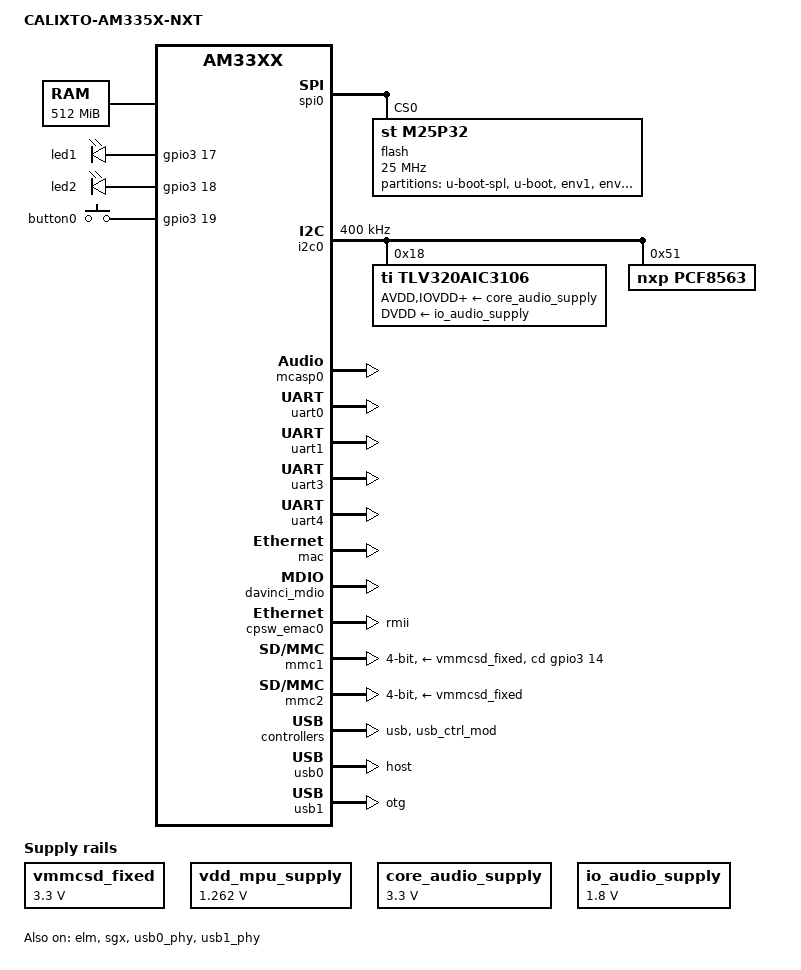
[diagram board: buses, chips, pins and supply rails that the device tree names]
/*
 * Copyright (C) 2014 Calixto Systems Pvt Ltd - http://www.calixto.co.in/
 *
 * This program is free software; you can redistribute it and/or modify
 * it under the terms of the GNU General Public License version 2 as
 * published by the Free Software Foundation.
 */

/*
 * AM335x CALIXTO STAMP EVM
 * http:// http://www.calixto.co.in/
 * Modified from am335x-evmsk
 * Modified by Jithin Shyam <jithin.s@calixto.in>
 */

/dts-v1/;

#include "am33xx.dtsi"
#include <dt-bindings/pwm/pwm.h>
#include <dt-bindings/interrupt-controller/irq.h>

/ {
	model = "CALIXTO-AM335X-NXT";
	compatible = "ti,am335x-calixto-nxt", "ti,am33xx";

	cpus {
		cpu@0 {
			 cpu0-supply = <&vdd_mpu_supply>;
		};
	};

	memory {
		device_type = "memory";
		reg = <0x80000000 0x20000000>; /* 512MB */
	};

	vmmcsd_fixed: fixedregulator-sd {
		compatible = "regulator-fixed";
		regulator-name = "vmmcsd_fixed";
		regulator-min-microvolt = <3300000>;
		regulator-max-microvolt = <3300000>;
		enable-active-high;
	};

	vdd_mpu_supply: fixedregulator-mpu {
		compatible = "regulator-fixed";
		regulator-name = "vdd_mpu_supply";
		regulator-min-microvolt = <1262000>;
		regulator-max-microvolt = <1262000>;
		regulator-boot-on;
	};

	core_audio_supply: fixedregulator@1 {
                compatible = "regulator-fixed";
                regulator-name = "core_audio_supply";
                regulator-min-microvolt = <3300000>;
                regulator-max-microvolt = <3300000>;
                regulator-boot-on;
        };

        io_audio_supply: fixedregulator@2 {
                compatible = "regulator-fixed";
                regulator-name = "io_audio_supply";
                regulator-min-microvolt = <1800000>;
                regulator-max-microvolt = <1800000>;
                regulator-boot-on;
        };

	sound {
            compatible = "ti,da830-evm-audio";
            ti,model = "CALIXTO-AM335X-NXT";
            ti,audio-codec = <&tlv320aic3106>;
            ti,mcasp-controller = <&mcasp0>;
            ti,codec-clock-rate = <24576000>;
            ti,audio-routing =
                    "Headphone Jack",       "HPLOUT",
                    "Headphone Jack",       "HPROUT",
                    "Line Out",             "LLOUT",
                    "Line Out",             "RLOUT",
                    "LINE1L",               "Line In",
                    "LINE1R",               "Line In",
                    "MIC3L",                "Mic Jack",
                    "MIC3R",                "Mic Jack";
        };
	
	leds {
                pinctrl-names = "default", "sleep";
                pinctrl-0 = <&user_leds_default>;
                pinctrl-1 = <&user_leds_sleep>;

                compatible = "gpio-leds";

                led@1 {
                        label = "led1";
                        gpios = <&gpio3 17 GPIO_ACTIVE_HIGH>;
                        linux,default-trigger = "heartbeat";
                        default-state = "on";
                };

                led@2 {
                        label = "led2";
                        gpios = <&gpio3 18 GPIO_ACTIVE_HIGH>;
                        linux,default-trigger = "heartbeat";
                        default-state = "on";
                };
        };

	gpio_buttons: gpio_buttons@0 {
                compatible = "gpio-keys";
                pinctrl-names = "default";
                pinctrl-0 = <&gpio_keys_s0>;
                #address-cells = <1>;
                #size-cells = <0>;

                switch@1 {
                        label = "button0";
                        linux,code = <0x100>;
                        gpios = <&gpio3 19 GPIO_ACTIVE_HIGH>;
                };

        };
};


&am33xx_pinmux {

	pinctrl-names = "default";
	pinctrl-0 = <&clkout2_pin>;

	user_leds_default: user_leds_default {
                pinctrl-single,pins = <
                        0x19C ( PIN_OUTPUT_PULLDOWN | MUX_MODE7 ) /* (C12) mcasp0_ahclkr.gpio3[17] */
                        0x1A0 ( PIN_OUTPUT_PULLDOWN | MUX_MODE7 ) /* (A14) mcasp0_ahclkx.gpio3[21] */
                >;
        };

        user_leds_sleep: user_leds_sleep {
                pinctrl-single,pins = <
                        0x19C ( PIN_INPUT_PULLDOWN | MUX_MODE7 ) /* (C12) mcasp0_ahclkr.gpio3[17] */
                        0x1A0 ( PIN_INPUT_PULLDOWN | MUX_MODE7 ) /* (A14) mcasp0_ahclkx.gpio3[21] */
                >;
        };


        gpio_keys_s0: gpio_keys_s0 {
                pinctrl-single,pins = <
                        0x1A4 ( PIN_INPUT_PULLDOWN | MUX_MODE7 ) /* (C13) mcasp0_fsr.gpio3[19] */
                >;
        };

	i2c0_pins: pinmux_i2c0_pins {
                pinctrl-single,pins = <
                        0x188 (PIN_INPUT_PULLUP | MUX_MODE0)    /* i2c0_sda.i2c0_sda */
                        0x18C (PIN_INPUT_PULLUP | MUX_MODE0)    /* i2c0_scl.i2c0_scl */
                >;
        };


	spi0_pins: pinmux_spi0_pins {
		pinctrl-single,pins = <
			0x150 ( PIN_INPUT_PULLUP | MUX_MODE0 ) /* (A17) spi0_sclk.spi0_sclk */
			0x154 ( PIN_INPUT_PULLUP | MUX_MODE0 ) /* (B17) spi0_d0.spi0_d0 */
			0x158 ( PIN_OUTPUT_PULLUP | MUX_MODE0 ) /* (B16) spi0_d1.spi0_d1 */
			0x15c ( PIN_OUTPUT_PULLUP | MUX_MODE0 ) /* (A16) spi0_cs0.spi0_cs0 */
		>;
	};


 	uart0_pins: pinmux_uart0_pins {
                pinctrl-single,pins = <
                        0x170 (PIN_INPUT_PULLUP    | MUX_MODE0)  /* uart0_rxd.uart0_rxd */
                        0x174 (PIN_OUTPUT_PULLDOWN | MUX_MODE0)  /* uart0_txd.uart0_txd */
                >;
        };

	uart1_pins: pinmux_uart1_pins {
                pinctrl-single,pins = <
                        0x180 (PIN_INPUT_PULLUP    | MUX_MODE0)  /* (D16) uart1_rxd.uart1_rxd */
                        0x184 (PIN_OUTPUT_PULLDOWN | MUX_MODE0)  /* (D15) uart1_txd.uart1_txd */
                >;
        };

        uart3_pins: pinmux_uart3_pins {
                pinctrl-single,pins = <
                        0x160 (PIN_INPUT_PULLUP    | MUX_MODE1)  /* (C15) spi0_cs1.uart3_rxd */
                        0x138 (PIN_OUTPUT_PULLDOWN | MUX_MODE1)  /* (L16) gmii1_rxd2.uart3_txd */
                >;
        };

        uart4_pins: pinmux_uart4_pins {
                pinctrl-single,pins = <
                        0x11C (PIN_INPUT_PULLUP    | MUX_MODE3)  /* (J18) gmii1_txd3.uart4_rxd */
                        0x120 (PIN_OUTPUT_PULLDOWN | MUX_MODE3)  /* (K15) gmii1_txd2.uart4_txd */
                >;
        };


	cpsw_default: cpsw_default {
		pinctrl-single,pins = <
			/* Slave 1 */
			0x10c (PIN_INPUT_PULLDOWN  | MUX_MODE1)  /* mii1_crs.rmii1_crs_dv */
			0x110 (PIN_INPUT_PULLDOWN  | MUX_MODE1)  /* mii1_rxerr.mii1_rxerr */
			0x114 (PIN_OUTPUT_PULLDOWN | MUX_MODE1)  /* mii1_txen.mii1_txen   */
			0x124 (PIN_OUTPUT_PULLDOWN | MUX_MODE1)  /* mii1_txd1.mii1_txd1   */
			0x128 (PIN_OUTPUT_PULLDOWN | MUX_MODE1)  /* mii1_txd0.mii1_txd0   */
			0x13c (PIN_INPUT_PULLDOWN  | MUX_MODE1)  /* mii1_rxd1.mii1_rxd2   */
			0x140 (PIN_INPUT_PULLDOWN  | MUX_MODE1)  /* mii1_rxd0.mii1_rxd0   */
			0x144 (PIN_INPUT_PULLDOWN  | MUX_MODE0)  /* rmii1_refclk.rmii1_refclk */
		>;
	};

	cpsw_sleep: cpsw_sleep {
		pinctrl-single,pins = <
			/* Slave 1 reset value */
			0x10c (PIN_INPUT_PULLDOWN | MUX_MODE7)
			0x110 (PIN_INPUT_PULLDOWN | MUX_MODE7)
			0x114 (PIN_INPUT_PULLDOWN | MUX_MODE7)
			0x124 (PIN_INPUT_PULLDOWN | MUX_MODE7)
			0x128 (PIN_INPUT_PULLDOWN | MUX_MODE7)
			0x13c (PIN_INPUT_PULLDOWN | MUX_MODE7)
			0x140 (PIN_INPUT_PULLDOWN | MUX_MODE7)
			0x144 (PIN_INPUT_PULLDOWN | MUX_MODE7)
		>;
	};

       clkout2_pin: pinmux_clkout2_pin {
                pinctrl-single,pins = <
                        0x1B4 (PIN_OUTPUT_PULLDOWN | MUX_MODE3) /* xdma_event_intr1.clkout2 */
                >;
        };

	davinci_mdio_default: davinci_mdio_default {
		pinctrl-single,pins = <
			/* MDIO */
			0x148 (PIN_INPUT_PULLUP  | SLEWCTRL_FAST | MUX_MODE0)	/* mdio_data.mdio_data */
			0x14c (PIN_OUTPUT_PULLUP | MUX_MODE0)			/* mdio_clk.mdio_clk */
		>;
	};

	davinci_mdio_sleep: davinci_mdio_sleep {
		pinctrl-single,pins = <
			/* MDIO reset value */
			0x148 (PIN_INPUT_PULLDOWN | MUX_MODE7)
			0x14c (PIN_INPUT_PULLDOWN | MUX_MODE7)
		>;
	};

	mmc1_pins_default: pinmux_mmc1_pins {
		pinctrl-single,pins = <
			0x0F0 (PIN_INPUT_PULLUP | MUX_MODE0)    /* mmc0_dat3.mmc0_dat3 */
			0x0F4 (PIN_INPUT_PULLUP | MUX_MODE0)    /* mmc0_dat2.mmc0_dat2 */
			0x0F8 (PIN_INPUT_PULLUP | MUX_MODE0)    /* mmc0_dat1.mmc0_dat1 */
			0x0FC (PIN_INPUT_PULLUP | MUX_MODE0)    /* mmc0_dat0.mmc0_dat0 */
			0x100 (PIN_INPUT_PULLUP | MUX_MODE0)    /* mmc0_clk.mmc0_clk */
			0x104 (PIN_INPUT_PULLUP | MUX_MODE0)    /* mmc0_cmd.mmc0_cmd */
		/*	0x190 (PIN_INPUT | MUX_MODE7) 	*/	/* mcasp0_aclkx.gpio3_14 */
		>;
	};

	mmc1_pins_sleep: pinmux_mmc1_pins_sleep {
		pinctrl-single,pins = <
			0x0F0 (PIN_INPUT_PULLDOWN | MUX_MODE7)
			0x0F4 (PIN_INPUT_PULLDOWN | MUX_MODE7)
			0x0F8 (PIN_INPUT_PULLDOWN | MUX_MODE7)
			0x0FC (PIN_INPUT_PULLDOWN | MUX_MODE7)
			0x100 (PIN_INPUT_PULLDOWN | MUX_MODE7)
			0x104 (PIN_INPUT_PULLDOWN | MUX_MODE7)
			0x190 (PIN_INPUT_PULLDOWN | MUX_MODE7)
		>;
	};

	emmc_pins: pinmux_emmc_pins {
		pinctrl-single,pins = <
		0x80 ( PIN_INPUT_PULLUP | MUX_MODE2 ) /* (U9) gpmc_csn1.mmc1_clk */
		0x84 ( PIN_INPUT_PULLUP | MUX_MODE2 ) /* (V9) gpmc_csn2.mmc1_cmd */
		0x00 ( PIN_INPUT_PULLUP | MUX_MODE1 ) /* (U7) gpmc_ad0.mmc1_dat0 */
		0x04 ( PIN_INPUT_PULLUP | MUX_MODE1 ) /* (V7) gpmc_ad1.mmc1_dat1 */
		0x08 ( PIN_INPUT_PULLUP | MUX_MODE1 ) /* (R8) gpmc_ad2.mmc1_dat2 */
		0x0c ( PIN_INPUT_PULLUP | MUX_MODE1 ) /* (T8) gpmc_ad3.mmc1_dat3 */
		>;
	};	

	mcasp0_pins: mcasp0_pins {
		pinctrl-single,pins = <
			0x12C (PIN_INPUT_PULLDOWN  | MUX_MODE6) /* mii1_txclk.mcasp0_aclkx */
			0x194 (PIN_INPUT_PULLDOWN  | MUX_MODE0) /* mcasp0_fsx.mcasp0_fsx   */
			0x134 (PIN_OUTPUT_PULLDOWN | MUX_MODE6) /* mii1_rxd3.mcasp0_axr0   */
			0x1A8 (PIN_INPUT_PULLDOWN  | MUX_MODE0) /* mcasp0_axr1.mcasp0_axr1 */
		>;
	};

	mcasp0_sleep_pins: mcasp0_sleep_pins {
		pinctrl-single,pins = <
			0x12C (PIN_INPUT_PULLDOWN | MUX_MODE7)
			0x194 (PIN_INPUT_PULLDOWN | MUX_MODE7)
			0x134 (PIN_INPUT_PULLDOWN | MUX_MODE7)
			0x1A8 (PIN_INPUT_PULLDOWN | MUX_MODE7)
		>;
	};



};

&elm {
	status = "okay";
};

/*
 * SPI Flash (8MiB)
 * 0x000000 - 0x01FFFF : SPL (128KiB)
 * 0x020000 - 0x09FFFF : U-Boot (512KiB)
 * 0x0A0000 - 0x0BFFFF : First copy of U-Boot Environment (128KiB)
 * 0x0C0000 - 0x0DFFFF : Second copy of U-Boot Environment (128KiB)
 * 0x0E0000 - 0x0FFFFF : device tree blob (Not used now) (128KiB)
 * 0x100000 - 0x800000 : Application data (7MiB)
 */

&spi0 {
	pinctrl-names = "default";
	pinctrl-0 = <&spi0_pins>;
	status = "okay";

	flash: n25q032@0 {
		 #address-cells = <1>;
		 #size-cells = <1>;
		 compatible = "st,m25p32";
		 spi-max-frequency = <25000000>;
		 reg = <0>;


		 partition@0 {
			 label = "u-boot-spl";
			 reg = <0x000000 0x020000>;
		 };


		 partition@1 {
			 label = "u-boot";
			 reg = <0x020000 0x080000>;
		 };

		 partition@2 {
			 label = "env1";
			 reg = <0x0A0000 0x020000>;
		 };

		 partition@3 {
			 label = "env2";
			 reg = <0x0C0000 0x020000>;
		 };
/*
		 partition@4 {
			 label = "device-tree-blob";
			 reg = <0x0E0000 0x020000>;
		 };
*/
		 partition@5 {
			 label = "app-data";
			 reg = <0x100000 0x700000>;
		 };

	};
};


&i2c0 {
	pinctrl-names = "default";
	pinctrl-0 = <&i2c0_pins>;
	status = "okay";
	clock-frequency = <400000>;

        tlv320aic3106: tlv320aic3106@18 {
             	compatible = "ti,tlv320aic3106";
             	reg = <0x18>;
             	ai3x-micbias-vg = <1>;
             	status = "okay";

             	/* Regulators */
             	AVDD-supply  = <&core_audio_supply>;
            	IOVDD-supply = <&core_audio_supply>;
             	DRVDD-supply = <&core_audio_supply>;
             	DVDD-supply  = <&io_audio_supply>;
	  };

	pcf8563: pcf8563@51 {
		compatible = "nxp,pcf8563";
		reg = <0x51>;
	};

};

&mcasp0 {
          pinctrl-names = "default", "sleep";
          pinctrl-0 = <&mcasp0_pins>;
          pinctrl-1 = <&mcasp0_sleep_pins>;

          status = "okay";

          op-mode = <0>;          /* MCASP_IIS_MODE */
          tdm-slots = <2>;
          /* 16 serializer */
          serial-dir = <  /* 0: INACTIVE, 1: TX, 2: RX */
                 1 2 0 0
          >;
          tx-num-evt = <32>;
          rx-num-evt = <32>;
};


&uart0 {
        pinctrl-names = "default";
        pinctrl-0 = <&uart0_pins>;

        status = "okay";
};

&uart1 {
        pinctrl-names = "default";
        pinctrl-0 = <&uart1_pins>;

        status = "okay";
};

&uart3 {
        pinctrl-names = "default";
        pinctrl-0 = <&uart3_pins>;

        status = "okay";
};

&uart4 {
        pinctrl-names = "default";
        pinctrl-0 = <&uart4_pins>;

        status = "okay";
};

&mac {
	slaves = <1>;
	pinctrl-names = "default", "sleep";
	pinctrl-0 = <&cpsw_default>;
	pinctrl-1 = <&cpsw_sleep>;
	status = "okay";
};

&davinci_mdio {
	pinctrl-names = "default", "sleep";
	pinctrl-0 = <&davinci_mdio_default>;
	pinctrl-1 = <&davinci_mdio_sleep>;
	status = "okay";
};

&cpsw_emac0 {
	phy_id = <&davinci_mdio>, <0>;
	phy-mode = "rmii";
	dual_emac_res_vlan = <1>;
};

&phy_sel {
	rmii-clock-ext;
};

&mmc1 {
        status = "okay";
        vmmc-supply = <&vmmcsd_fixed>;
        bus-width = <4>;
        pinctrl-names = "default", "sleep";
        pinctrl-0 = <&mmc1_pins_default>;
        pinctrl-1 = <&mmc1_pins_sleep>;
	cd-gpios = <&gpio3 14 GPIO_ACTIVE_HIGH>;
};

&mmc2 {
	status = "okay";
	pinctrl-names = "default";
	pinctrl-0 = <&emmc_pins>;
        vmmc-supply = <&vmmcsd_fixed>;
	bus-width = <4>;
	ti,non-removable;
};


&rtc {
	system-power-controller;
};

&sgx {
      status = "okay";
};

&usb {
        status = "okay";
};

&usb_ctrl_mod {
        status = "okay";
};

&usb0_phy {
        status = "okay";
};

&usb1_phy {
        status = "okay";
};

&usb0 {
        status = "okay";
	dr_mode = "host";
};

&usb1 {
        status = "okay";
	dr_mode = "otg";
};

&cppi41dma  {
     status = "okay";
};


